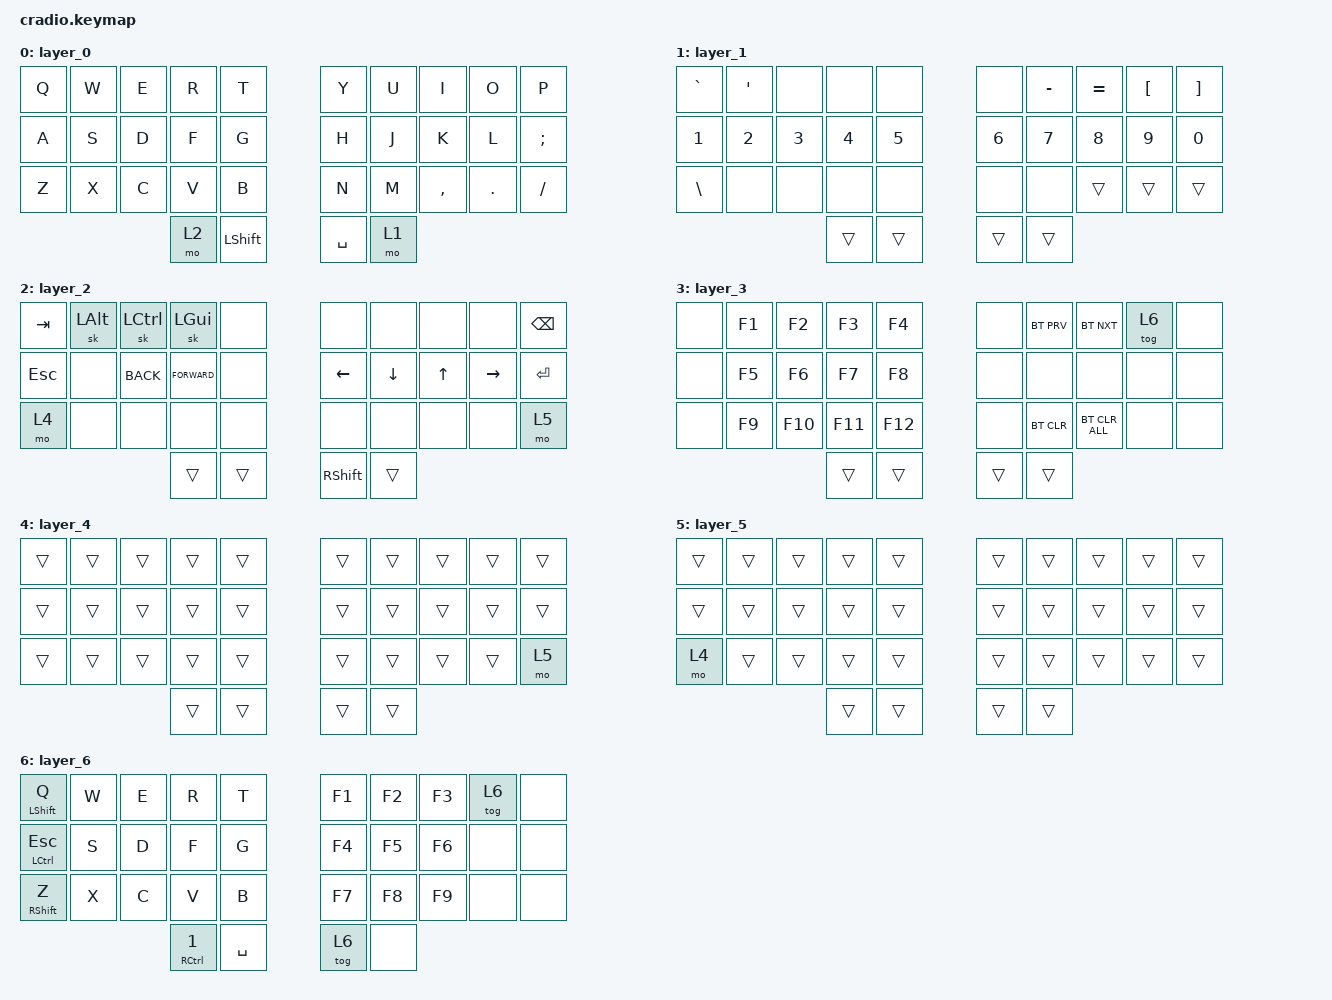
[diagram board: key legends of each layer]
#include <behaviors.dtsi>
#include <dt-bindings/zmk/bt.h>
#include <dt-bindings/zmk/keys.h>

/ {
    keymap {
        compatible = "zmk,keymap";

        layer_0 {
            bindings = <
&kp Q  &kp W  &kp E  &kp R  &kp T        &kp Y      &kp U  &kp I      &kp O    &kp P
&kp A  &kp S  &kp D  &kp F  &kp G        &kp H      &kp J  &kp K      &kp L    &kp SEMI
&kp Z  &kp X  &kp C  &kp V  &kp B        &kp N      &kp M  &kp COMMA  &kp DOT  &kp FSLH
                     &mo 2  &kp LSHFT    &kp SPACE  &mo 1
            >;
        };

        layer_1 {
            bindings = <
&kp GRAVE  &kp APOS  &none   &none   &none     &none   &kp MINUS  &kp EQUAL  &kp LBKT  &kp RBKT
&kp N1     &kp N2    &kp N3  &kp N4  &kp N5    &kp N6  &kp N7     &kp N8     &kp N9    &kp N0
&kp BSLH   &none     &none   &none   &none     &none   &none      &trans     &trans    &trans
                             &trans  &trans    &trans  &trans
            >;
        };

        layer_2 {
            bindings = <
&kp TAB  &sk LEFT_ALT  &sk LCTRL   &sk LEFT_GUI   &none     &none            &none           &none         &none            &kp BACKSPACE
&kp ESC  &none         &kp K_BACK  &kp K_FORWARD  &none     &kp LEFT_ARROW   &kp DOWN_ARROW  &kp UP_ARROW  &kp RIGHT_ARROW  &kp ENTER
&mo 4    &none         &none       &none          &none     &none            &none           &none         &none            &mo 5
                                   &trans         &trans    &kp RIGHT_SHIFT  &trans
            >;
        };

        layer_3 {
            bindings = <
&none  &kp F1  &kp F2   &kp F3   &kp F4     &none   &bt BT_PRV  &bt BT_NXT      &tog 6  &none
&none  &kp F5  &kp F6   &kp F7   &kp F8     &none   &none       &none           &none   &none
&none  &kp F9  &kp F10  &kp F11  &kp F12    &none   &bt BT_CLR  &bt BT_CLR_ALL  &none   &none
                        &trans   &trans     &trans  &trans
            >;
        };

        layer_4 {
            bindings = <
&trans  &trans  &trans  &trans  &trans    &trans  &trans  &trans  &trans  &trans
&trans  &trans  &trans  &trans  &trans    &trans  &trans  &trans  &trans  &trans
&trans  &trans  &trans  &trans  &trans    &trans  &trans  &trans  &trans  &mo 5
                        &trans  &trans    &trans  &trans
            >;
        };

        layer_5 {
            bindings = <
&trans  &trans  &trans  &trans  &trans    &trans  &trans  &trans  &trans  &trans
&trans  &trans  &trans  &trans  &trans    &trans  &trans  &trans  &trans  &trans
&mo 4   &trans  &trans  &trans  &trans    &trans  &trans  &trans  &trans  &trans
                        &trans  &trans    &trans  &trans
            >;
        };

        layer_6 {
            bindings = <
&mt LSHFT Q        &kp W  &kp E  &kp R                       &kp T        &kp F1  &kp F2  &kp F3  &tog 6  &none
&mt LCTRL ESCAPE   &kp S  &kp D  &kp F                       &kp G        &kp F4  &kp F5  &kp F6  &none   &none
&mt RIGHT_SHIFT Z  &kp X  &kp C  &kp V                       &kp B        &kp F7  &kp F8  &kp F9  &none   &none
                                 &mt RIGHT_CONTROL NUMBER_1  &kp SPACE    &tog 6  &none
            >;
        };
    };

    conditional_layers {
        compatible = "zmk,conditional-layers";

        bltfn {
            if-layers = <4 5>;
            then-layer = <3>;
        };
    };
};
